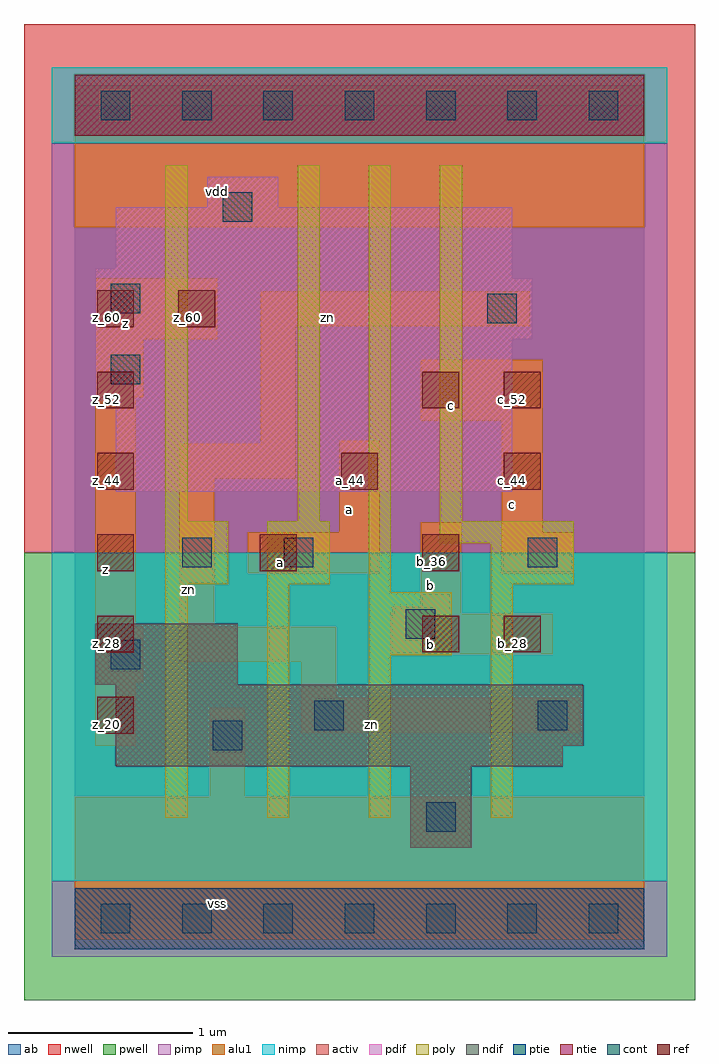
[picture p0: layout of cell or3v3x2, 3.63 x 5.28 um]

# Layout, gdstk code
import gdstk
lib = gdstk.Library(unit=1e-6, precision=2.5e-09)
def R(c, l, rs):  # rectangles x0, y0, x1, y1
    for r in rs: c.add(gdstk.rectangle(r[:2], r[2:], *l))
def A(c, l, x, y, w, h, nx, ny, dx, dy):  # array of equal rectangles
    R(c, l, [(x+i*dx, y+j*dy, x+i*dx+w, y+j*dy+h) for i in range(nx) for j in range(ny)])
ndif = (3, 0)
pdif = (4, 0)
ntie = (5, 0)
ptie = (6, 0)
ref = (24, 0)
cont = (25, 0)
pwell = (41, 0)
nwell = (42, 0)
activ = (43, 0)
pimp = (44, 0)
nimp = (45, 0)
poly = (46, 0)
alu1 = (49, 0)
ab = (63, 0)

or3v3x2 = lib.new_cell('or3v3x2')
R(or3v3x2, ndif, [(1.815,0.385,2.145,0.825), (0.22,0.825,2.64,0.935), (0.22,0.935,2.75,1.265), (0.11,1.265,0.88,1.595)])
R(or3v3x2, pdif, [(0.22,2.31,2.365,2.805), (0.11,2.805,2.365,3.135), (0.11,3.135,2.475,3.465), (0.11,3.465,2.365,3.52), (0.22,3.52,2.365,3.85), (0.715,3.85,1.1,4.015)])
R(or3v3x2, ntie, [(0,4.235,3.08,4.565)])
R(or3v3x2, ptie, [(0,-0.165,3.08,0.165)])
A(or3v3x2, ref, 0.12, 1.88, 0.2, 0.2, 3, 1, 0.88, 0)
A(or3v3x2, ref, 0.12, 2.32, 0.2, 0.2, 1, 3, 0, 0.44)
R(or3v3x2, ref, [(0.12,1,0.32,1.2), (0.12,1.44,0.32,1.64), (1.88,1.44,2.08,1.64), (2.32,1.44,2.52,1.64), (1.44,2.32,1.64,2.52), (2.32,2.32,2.52,2.52), (1.88,2.76,2.08,2.96), (2.32,2.76,2.52,2.96), (0.56,3.2,0.76,3.4)])
A(or3v3x2, cont, 0.14, -0.08, 0.16, 0.16, 7, 2, 0.44, 4.4)
R(or3v3x2, cont, [(1.9,0.47,2.06,0.63), (0.745,0.91,0.905,1.07), (1.295,1.02,1.455,1.18), (2.505,1.02,2.665,1.18), (0.195,1.35,0.355,1.51), (1.79,1.515,1.95,1.675), (0.58,1.9,0.74,2.06), (1.13,1.9,1.29,2.06), (2.45,1.9,2.61,2.06), (0.195,2.89,0.355,3.05), (2.23,3.22,2.39,3.38), (0.195,3.275,0.355,3.435), (0.8,3.77,0.96,3.93)])
R(or3v3x2, pwell, [(-0.275,-0.44,3.355,1.98)])
R(or3v3x2, nwell, [(-0.275,1.98,3.355,4.84)])
R(or3v3x2, activ, [(0,-0.165,3.08,0.165), (1.815,0.385,2.145,0.825), (0.22,0.825,2.64,0.935), (0.22,0.935,2.75,1.265), (0.11,1.265,0.88,1.595), (0.22,2.31,2.365,2.805), (0.11,2.805,2.365,3.135), (0.11,3.135,2.475,3.465), (0.11,3.465,2.365,3.52), (0.22,3.52,2.365,3.85), (0.715,3.85,1.1,4.015), (0,4.235,3.08,4.565)])
R(or3v3x2, pimp, [(-0.125,-0.205,3.205,0.205), (-0.125,1.98,3.205,4.195)])
R(or3v3x2, nimp, [(-0.125,0.205,3.205,1.98), (-0.125,4.195,3.205,4.605)])
R(or3v3x2, poly, [(0.49,0.545,0.61,1.81), (1.04,0.545,1.16,1.81), (1.59,0.545,1.71,1.425), (2.25,0.545,2.37,1.81), (1.59,1.425,2.04,1.765), (1.59,1.765,1.71,4.075), (0.49,1.81,0.83,2.15), (1.04,1.81,1.38,2.15), (2.25,1.81,2.7,2.03), (1.975,2.03,2.7,2.15), (0.49,2.15,0.61,4.075), (1.205,2.15,1.325,4.075), (1.975,2.15,2.095,4.075)])
R(or3v3x2, alu1, [(0,-0.11,3.08,0.66), (0.73,0.66,0.92,1.14), (0.11,0.935,0.33,1.28), (1.225,1.005,2.735,1.195), (1.225,1.195,1.415,1.39), (0.11,1.28,0.37,1.58), (0.565,1.39,1.415,1.58), (1.705,1.43,2.585,1.65), (0.11,1.58,0.33,2.82), (0.565,1.58,0.755,2.38), (1.72,1.65,2.09,1.69), (1.87,1.69,2.09,2.145), (0.935,1.87,1.65,2.09), (2.31,1.87,2.695,2.09), (1.43,2.09,1.65,2.585), (2.31,2.09,2.53,2.695), (0.565,2.38,1.195,2.57), (1.005,2.57,1.195,3.205), (1.87,2.695,2.53,3.025), (0.11,2.82,0.37,3.135), (0.11,3.135,0.77,3.465), (1.005,3.205,2.46,3.395), (0,3.74,3.08,4.51)])
R(or3v3x2, ab, [(0,0,3.08,4.4)])
or3v3x2.add(gdstk.Label('vss', (0.77,0.0825), layer=49, texttype=0))
or3v3x2.add(gdstk.Label('zn', (1.6025,1.0525), layer=49, texttype=0))
or3v3x2.add(gdstk.Label('b', (1.925,1.485), layer=49, texttype=0))
or3v3x2.add(gdstk.Label('c', (2.365,2.24), layer=49, texttype=0))
or3v3x2.add(gdstk.Label('b', (1.925,1.8025), layer=49, texttype=0))
or3v3x2.add(gdstk.Label('a', (1.1125,1.925), layer=49, texttype=0))
or3v3x2.add(gdstk.Label('a', (1.485,2.2125), layer=49, texttype=0))
or3v3x2.add(gdstk.Label('zn', (0.6125,1.78), layer=49, texttype=0))
or3v3x2.add(gdstk.Label('c', (2.035,2.7775), layer=49, texttype=0))
or3v3x2.add(gdstk.Label('z', (0.165,1.89), layer=49, texttype=0))
or3v3x2.add(gdstk.Label('zn', (1.3675,3.2525), layer=49, texttype=0))
or3v3x2.add(gdstk.Label('z', (0.275,3.2175), layer=49, texttype=0))
or3v3x2.add(gdstk.Label('vdd', (0.77,3.9325), layer=49, texttype=0))
or3v3x2.add(gdstk.Label('c_52', (2.37,2.81), layer=24, texttype=0))
or3v3x2.add(gdstk.Label('c_44', (2.37,2.37), layer=24, texttype=0))
or3v3x2.add(gdstk.Label('b_28', (2.37,1.49), layer=24, texttype=0))
or3v3x2.add(gdstk.Label('z_60', (0.17,3.25), layer=24, texttype=0))
or3v3x2.add(gdstk.Label('z_52', (0.17,2.81), layer=24, texttype=0))
or3v3x2.add(gdstk.Label('z_44', (0.17,2.37), layer=24, texttype=0))
or3v3x2.add(gdstk.Label('z_36', (0.17,1.93), layer=24, texttype=0))
or3v3x2.add(gdstk.Label('z_28', (0.17,1.49), layer=24, texttype=0))
or3v3x2.add(gdstk.Label('z_20', (0.17,1.05), layer=24, texttype=0))
or3v3x2.add(gdstk.Label('c_52', (1.93,2.81), layer=24, texttype=0))
or3v3x2.add(gdstk.Label('b_36', (1.93,1.93), layer=24, texttype=0))
or3v3x2.add(gdstk.Label('b_28', (1.93,1.49), layer=24, texttype=0))
or3v3x2.add(gdstk.Label('a_44', (1.49,2.37), layer=24, texttype=0))
or3v3x2.add(gdstk.Label('a_36', (1.05,1.93), layer=24, texttype=0))
or3v3x2.add(gdstk.Label('z_60', (0.61,3.25), layer=24, texttype=0))

lib.write_gds('or3v3x2.gds')
